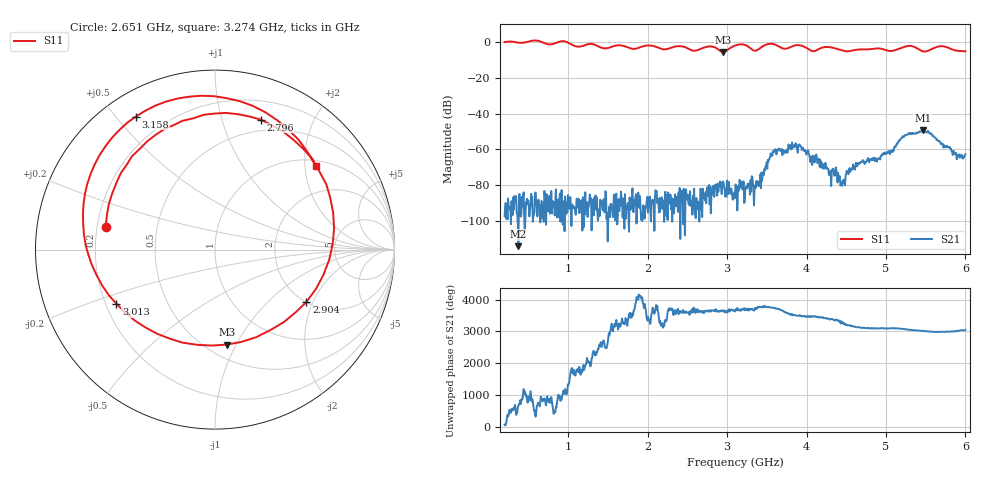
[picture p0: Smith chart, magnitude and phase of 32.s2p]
! NanoVNA-App
! Date: 2024-06-25 16:11:56
! Start: 200MHz Stop: 6GHz Points: 801
! S-Parameter data: F S11 S21 S12 S22
# Hz S RI R 50
!  Frequency  S11_Real  S11_Imag  S21_Real  S21_Imag  S12_Real  S12_Imag  S22_Real  S22_Imag
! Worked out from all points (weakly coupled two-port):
!   801 points, 200 MHz to 6 GHz, reference 50 ohm
!   highest |S21| = -49.41 dB at 5.463 GHz (marker M1); lowest = -114.2 dB at 374 MHz (marker M2)
!   lowest |S11| = -5.5 dB at 2.948 GHz (marker M3), VSWR 3.29, Z = 31 - j45.9 ohm
!   |S11| at or under -10 dB: nowhere
!   S12 and S22 are empty: the file has one direction only
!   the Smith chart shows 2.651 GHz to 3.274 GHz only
!   S11 on the Smith chart (normalised r, x): 2.651 GHz: 0.23, +0.10; 2.796 GHz: 0.38, +1.34; 2.904 GHz: 2.01, -1.79; 3.013 GHz: 0.24, -0.24; 3.158 GHz: 0.10, +0.56; 3.274 GHz: 1.15, +2.28
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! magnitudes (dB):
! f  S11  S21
! 200 MHz  0.0  -97.5
! 374 MHz  -0.3  -114.2
! 1.171 GHz  -2.3  -88.3
! 2.136 GHz  -3.1  -88.8
! 2.651 GHz  -4.1  -100.4
! 2.796 GHz  -2.3  -95.8
! 2.904 GHz  -4.6  -80.6
! 2.948 GHz  -5.5  -78.0
! 3.013 GHz  -4.1  -85.0
! 3.1 GHz  -1.9  -87.3
! 3.158 GHz  -1.3  -77.1
! 3.274 GHz  -2.7  -79.3
! 3.412 GHz  -3.5  -80.4
! 3.615 GHz  -1.6  -60.7
! 3.926 GHz  -1.9  -58.2
! 4.072 GHz  -5.0  -68.7
! 4.456 GHz  -4.7  -78.9
! 4.652 GHz  -4.1  -67.6
! 5.036 GHz  -4.9  -60.9
! 5.231 GHz  -2.6  -52.6
! 5.463 GHz  -5.1  -49.4
! 6 GHz  -5.1  -62.7
